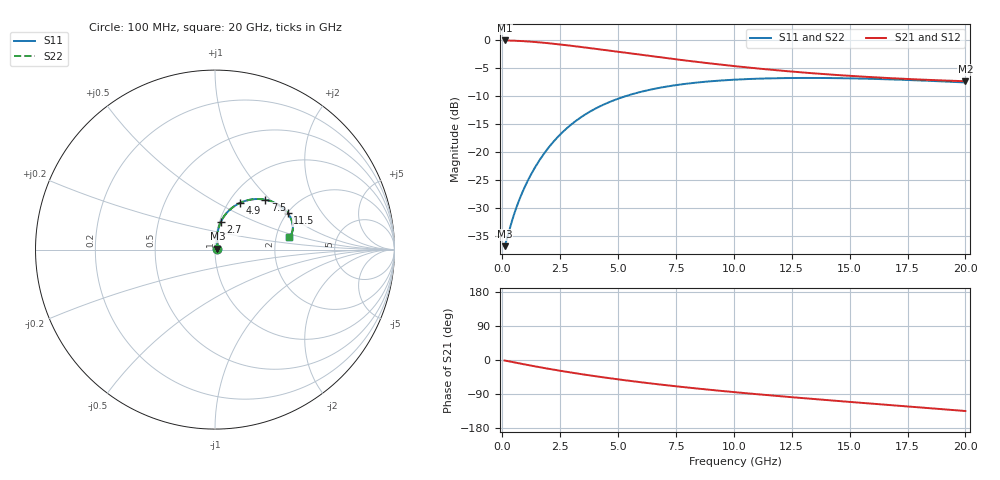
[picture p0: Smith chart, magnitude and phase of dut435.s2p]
! Touchstone file exported from HFSS 2024.1.0
!  File:  C:/UserFiles/LocalFiles/RDL_TSV_Batchsim/temp_RDL_TSV_435_1779720859.aedt
!  Generated:  11:13:23 PM May 25, 2026
!  Design:  RDL_TSV
!  Project:  temp_RDL_TSV_435_1779720859
!  Setup:  Setup1
!  Solution:  Sweep
! Variables:
!  dtsv = 6.79um
!  hbump = 3um
!  htsv = 66.49um
!  ldown = 300.21um
!  lrdl = 226.16um
!  p = 40
!  p1 = 58.88um
!  rhole = 10um
!  subl = 1805.27um
!  t = 450um
!  tdown = 3.11um
!  trdl = 4.24um
!  viad = 10um
!  wdown = 12.63um
!  wrdl = 17.07um
!  xbump = 18um
# GHz S MA R 50.000000
! Terminal data exported
! Port[1] = TM1_1_T1
! Port[2] = TM1_4_T1
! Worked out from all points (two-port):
!   200 points, 100 MHz to 20 GHz, reference 50 ohm
!   highest |S21| = -0.12 dB at 100 MHz (marker M1); lowest = -7.4 dB at 20 GHz (marker M2)
!   |S21| within 3 dB of the highest: start of sweep to 6.812 GHz
!   lowest |S11| = -36.8 dB at 100 MHz (marker M3), VSWR 1.03, Z = 51.4 + j0.501 ohm
!   |S11| at or under -10 dB: start of sweep to 5.365 GHz
!   |S22| runs from -36.8 to -6.8 dB; largest |S21 - S12| = 8.7e-15
!   S11 on the Smith chart (normalised r, x): 100 MHz: 1.03, +0.01; 2.7 GHz: 1.02, +0.32; 4.9 GHz: 1.13, +0.64; 7.5 GHz: 1.42, +0.93; 11.5 GHz: 2.00, +1.03; 20 GHz: 2.35, +0.39
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0.1  0.01447 19.7  0.9862 -1.2  0.9862 -1.2  0.01447 19.7
! Gamma 0 0 0 0
! Port Impedance 50 0 50 0
0.2  0.01681 35.1  0.9855 -2.5  0.9855 -2.5  0.01681 35.1
0.4  0.02356 53.9  0.983 -4.9  0.983 -4.9  0.02356 53.9
0.6  0.03158 64.3  0.9796 -7.3  0.9796 -7.3  0.03158 64.3
0.9  0.04527 73.2  0.9725 -10.9  0.9725 -10.9  0.04527 73.2
1.2  0.06081 78.0  0.9633 -14.4  0.9633 -14.4  0.06081 78.0
1.5  0.07801 80.3  0.9525 -17.8  0.9525 -17.8  0.07801 80.3
1.9  0.103 81.1  0.9359 -22.2  0.9359 -22.2  0.103 81.1
2.3  0.1296 80.1  0.9175 -26.4  0.9175 -26.4  0.1296 80.1
2.7  0.1568 78.2  0.8981 -30.4  0.8981 -30.4  0.1568 78.2
3.5  0.2106 72.8  0.8577 -38.1  0.8577 -38.1  0.2106 72.8
4.2  0.2542 67.4  0.8219 -44.4  0.8219 -44.4  0.2542 67.4
4.9  0.2932 62.1  0.7868 -50.3  0.7868 -50.3  0.2932 62.1
5.8  0.3357 55.6  0.7435 -57.3  0.7435 -57.3  0.3357 55.6
6.8  0.3734 49.0  0.6987 -64.6  0.6987 -64.6  0.3734 49.0
7.5  0.3943 44.8  0.6697 -69.4  0.6697 -69.4  0.3944 44.8
8.8  0.4233 38.0  0.6215 -77.6  0.6215 -77.6  0.4233 38.0
10.1  0.4418 32.1  0.5803 -85.3  0.5803 -85.3  0.4418 32.1
11.5  0.4528 26.8  0.5432 -92.9  0.5432 -92.9  0.4528 26.8
13.4  0.4569 20.9  0.5032 -102.7  0.5032 -102.7  0.457 20.9
16.7  0.4441 13.5  0.4555 -118.8  0.4555 -118.8  0.4442 13.5
20  0.4165 9.5  0.4271 -134.6  0.4271 -134.6  0.4166 9.5
